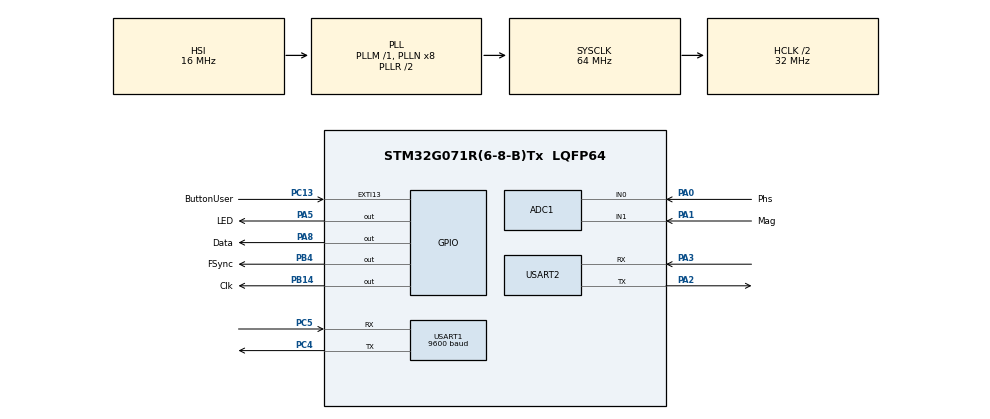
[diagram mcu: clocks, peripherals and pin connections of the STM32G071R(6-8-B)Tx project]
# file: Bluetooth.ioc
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ADC1.Channel-0\#ChannelRegularConversion=ADC_CHANNEL_0
ADC1.Channel-1\#ChannelRegularConversion=ADC_CHANNEL_1
ADC1.DMAContinuousRequests=ENABLE
ADC1.EOCSelection=ADC_EOC_SEQ_CONV
ADC1.NbrOfConversion=2
ADC1.NbrOfConversionFlag=1
ADC1.Rank-0\#ChannelRegularConversion=1
ADC1.Rank-1\#ChannelRegularConversion=2
ADC1.SamplingTime-0\#ChannelRegularConversion=ADC_SAMPLINGTIME_COMMON_1
ADC1.SamplingTime-1\#ChannelRegularConversion=ADC_SAMPLINGTIME_COMMON_1
ADC1.SamplingTimeCommon1=ADC_SAMPLETIME_160CYCLES_5
ADC1.master=1
Dma.ADC1.4.Direction=DMA_PERIPH_TO_MEMORY
Dma.ADC1.4.EventEnable=DISABLE
Dma.ADC1.4.Instance=DMA1_Channel5
Dma.ADC1.4.MemDataAlignment=DMA_MDATAALIGN_WORD
Dma.ADC1.4.MemInc=DMA_MINC_ENABLE
Dma.ADC1.4.Mode=DMA_CIRCULAR
Dma.ADC1.4.PeriphDataAlignment=DMA_PDATAALIGN_WORD
Dma.ADC1.4.PeriphInc=DMA_PINC_DISABLE
Dma.ADC1.4.Polarity=HAL_DMAMUX_REQ_GEN_RISING
Dma.ADC1.4.Priority=DMA_PRIORITY_HIGH
Dma.ADC1.4.RequestNumber=1
Dma.ADC1.4.SignalID=NONE
Dma.ADC1.4.SyncEnable=DISABLE
Dma.ADC1.4.SyncPolarity=HAL_DMAMUX_SYNC_NO_EVENT
Dma.ADC1.4.SyncRequestNumber=1
Dma.ADC1.4.SyncSignalID=NONE
Dma.Request0=USART1_RX
Dma.Request1=USART1_TX
Dma.Request2=USART2_RX
Dma.Request3=USART2_TX
Dma.Request4=ADC1
Dma.USART1_RX.0.Direction=DMA_PERIPH_TO_MEMORY
Dma.USART1_RX.0.EventEnable=DISABLE
Dma.USART1_RX.0.Instance=DMA1_Channel1
Dma.USART1_RX.0.MemDataAlignment=DMA_MDATAALIGN_BYTE
Dma.USART1_RX.0.MemInc=DMA_MINC_ENABLE
Dma.USART1_RX.0.Mode=DMA_CIRCULAR
Dma.USART1_RX.0.PeriphDataAlignment=DMA_PDATAALIGN_BYTE
Dma.USART1_RX.0.PeriphInc=DMA_PINC_DISABLE
Dma.USART1_RX.0.Polarity=HAL_DMAMUX_REQ_GEN_RISING
Dma.USART1_RX.0.Priority=DMA_PRIORITY_LOW
Dma.USART1_RX.0.RequestNumber=1
Dma.USART1_RX.0.SignalID=NONE
Dma.USART1_RX.0.SyncEnable=DISABLE
Dma.USART1_RX.0.SyncPolarity=HAL_DMAMUX_SYNC_NO_EVENT
Dma.USART1_RX.0.SyncRequestNumber=1
Dma.USART1_RX.0.SyncSignalID=NONE
Dma.USART1_TX.1.Direction=DMA_MEMORY_TO_PERIPH
Dma.USART1_TX.1.EventEnable=DISABLE
Dma.USART1_TX.1.Instance=DMA1_Channel2
Dma.USART1_TX.1.MemDataAlignment=DMA_MDATAALIGN_BYTE
Dma.USART1_TX.1.MemInc=DMA_MINC_ENABLE
Dma.USART1_TX.1.Mode=DMA_NORMAL
Dma.USART1_TX.1.PeriphDataAlignment=DMA_PDATAALIGN_BYTE
Dma.USART1_TX.1.PeriphInc=DMA_PINC_DISABLE
Dma.USART1_TX.1.Polarity=HAL_DMAMUX_REQ_GEN_RISING
Dma.USART1_TX.1.Priority=DMA_PRIORITY_LOW
Dma.USART1_TX.1.RequestNumber=1
Dma.USART1_TX.1.SignalID=NONE
Dma.USART1_TX.1.SyncEnable=DISABLE
Dma.USART1_TX.1.SyncPolarity=HAL_DMAMUX_SYNC_NO_EVENT
Dma.USART1_TX.1.SyncRequestNumber=1
Dma.USART1_TX.1.SyncSignalID=NONE
Dma.USART2_RX.2.Direction=DMA_PERIPH_TO_MEMORY
Dma.USART2_RX.2.EventEnable=DISABLE
Dma.USART2_RX.2.Instance=DMA1_Channel3
Dma.USART2_RX.2.MemDataAlignment=DMA_MDATAALIGN_BYTE
Dma.USART2_RX.2.MemInc=DMA_MINC_ENABLE
Dma.USART2_RX.2.Mode=DMA_CIRCULAR
Dma.USART2_RX.2.PeriphDataAlignment=DMA_PDATAALIGN_BYTE
Dma.USART2_RX.2.PeriphInc=DMA_PINC_DISABLE
Dma.USART2_RX.2.Polarity=HAL_DMAMUX_REQ_GEN_RISING
Dma.USART2_RX.2.Priority=DMA_PRIORITY_LOW
Dma.USART2_RX.2.RequestNumber=1
Dma.USART2_RX.2.SignalID=NONE
Dma.USART2_RX.2.SyncEnable=DISABLE
Dma.USART2_RX.2.SyncPolarity=HAL_DMAMUX_SYNC_NO_EVENT
Dma.USART2_RX.2.SyncRequestNumber=1
Dma.USART2_RX.2.SyncSignalID=NONE
Dma.USART2_TX.3.Direction=DMA_MEMORY_TO_PERIPH
Dma.USART2_TX.3.EventEnable=DISABLE
Dma.USART2_TX.3.Instance=DMA1_Channel4
Dma.USART2_TX.3.MemDataAlignment=DMA_MDATAALIGN_BYTE
Dma.USART2_TX.3.MemInc=DMA_MINC_ENABLE
Dma.USART2_TX.3.Mode=DMA_NORMAL
Dma.USART2_TX.3.PeriphDataAlignment=DMA_PDATAALIGN_BYTE
Dma.USART2_TX.3.PeriphInc=DMA_PINC_DISABLE
Dma.USART2_TX.3.Polarity=HAL_DMAMUX_REQ_GEN_RISING
Dma.USART2_TX.3.Priority=DMA_PRIORITY_LOW
Dma.USART2_TX.3.RequestNumber=1
Dma.USART2_TX.3.SignalID=NONE
Dma.USART2_TX.3.SyncEnable=DISABLE
Dma.USART2_TX.3.SyncPolarity=HAL_DMAMUX_SYNC_NO_EVENT
Dma.USART2_TX.3.SyncRequestNumber=1
Dma.USART2_TX.3.SyncSignalID=NONE
Mcu.Family=STM32G0
Mcu.Name=STM32G071R(6-8-B)Tx
Mcu.Package=LQFP64
NVIC.ADC1_COMP_IRQn=true\:0\:0\:false\:false\:true\:true\:true
NVIC.DMA1_Ch4_7_DMAMUX1_OVR_IRQn=true\:0\:0\:false\:false\:true\:false\:true
NVIC.DMA1_Channel1_IRQn=true\:0\:0\:false\:false\:true\:false\:true
NVIC.DMA1_Channel2_3_IRQn=true\:0\:0\:false\:false\:true\:false\:true
NVIC.EXTI4_15_IRQn=true\:0\:0\:false\:false\:true\:true\:true
NVIC.USART1_IRQn=true\:0\:0\:false\:false\:true\:true\:true
NVIC.USART2_IRQn=true\:0\:0\:false\:false\:true\:true\:true
PA0.GPIO_Label=Phs
PA0.Mode=IN0
PA0.Signal=ADC1_IN0
PA1.GPIO_Label=Mag
PA1.Mode=IN1
PA1.Signal=ADC1_IN1
PA2.Mode=Asynchronous
PA2.Signal=USART2_TX
PA3.Mode=Asynchronous
PA3.Signal=USART2_RX
PA5.GPIO_Label=LED
PA5.Signal=GPIO_Output
PA8.GPIO_Label=Data
PA8.Signal=GPIO_Output
PB14.GPIO_Label=Clk
PB14.Signal=GPIO_Output
PB4.GPIO_Label=FSync
PB4.PinState=GPIO_PIN_SET
PB4.Signal=GPIO_Output
PC13.GPIO_Label=ButtonUser
PC13.GPIO_ModeDefaultEXTI=GPIO_MODE_IT_FALLING
PC13.Signal=GPXTI13
PC4.Mode=Asynchronous
PC4.Signal=USART1_TX
PC5.Mode=Asynchronous
PC5.Signal=USART1_RX
ProjectManager.HeapSize=0x200
ProjectManager.StackSize=0x400
ProjectManager.TargetToolchain=STM32CubeIDE
RCC.ADCFreq_Value=64000000
RCC.AHBCLKDivider=RCC_SYSCLK_DIV2
RCC.AHBFreq_Value=32000000
RCC.CortexFreq_Value=32000000
RCC.EXTERNAL_CLOCK_VALUE=12288000
RCC.HCLKFreq_Value=32000000
RCC.HSE_VALUE=8000000
RCC.HSI_VALUE=16000000
RCC.LSE_VALUE=32768
RCC.SYSCLKFreq_VALUE=64000000
RCC.SYSCLKSource=RCC_SYSCLKSOURCE_PLLCLK
RCC.VCOOutputFreq_Value=128000000
USART1.BaudRate=9600
USART1.VirtualMode-Asynchronous=VM_ASYNC
USART2.VirtualMode-Asynchronous=VM_ASYNC
VP_SYS_VS_DBSignals.Mode=DisableDeadBatterySignals
board=NUCLEO-G071RB

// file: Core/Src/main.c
/* USER CODE BEGIN Header */
/**
  ******************************************************************************
  * @file           : main.c
  * @brief          : Main program body
  ******************************************************************************
  * @attention
  *
  * <h2><center>&copy; Copyright (c) 2019 STMicroelectronics.
  * All rights reserved.</center></h2>
  *
  * This software component is licensed by ST under BSD 3-Clause license,
  * the "License"; You may not use this file except in compliance with the
  * License. You may obtain a copy of the License at:
  *                        opensource.org/licenses/BSD-3-Clause
  *
  ******************************************************************************
  */
/* USER CODE END Header */

#include "main.h"

/* USER CODE BEGIN Includes */
#include "stdio.h"
#include "math.h"
/* USER CODE END Includes */

ADC_HandleTypeDef hadc1;
DMA_HandleTypeDef hdma_adc1;

UART_HandleTypeDef huart1;
UART_HandleTypeDef huart2;
DMA_HandleTypeDef hdma_usart1_rx;
DMA_HandleTypeDef hdma_usart1_tx;
DMA_HandleTypeDef hdma_usart2_rx;
DMA_HandleTypeDef hdma_usart2_tx;

void SystemClock_Config(void);
static void MX_GPIO_Init(void);
static void MX_DMA_Init(void);
static void MX_USART1_UART_Init(void);
static void MX_USART2_UART_Init(void);
static void MX_ADC1_Init(void);
/* USER CODE BEGIN PFP */
void tachChuoi(void);
void SG_WriteRegister(uint16_t dat);
void SG_Reset();
void SG_freqSet(long frequency, int wave);
void InitSigGen(void);
void SerialCommand(void);
void SG_freqReset(long frequency, int wave);
void readADC(void);
void convertADC(void);
void display(void);
void calculation(void);
void resetValue(void);
/* USER CODE END PFP */

/* USER CODE BEGIN 0 */
uint8_t rxBufferUart1[4];       // thanh ghi cho UART1
uint8_t rxBufferUart2[7];		// thanh ghi cho UART2
uint8_t ChieuCao;
uint8_t CanNang;
uint8_t GioiTinh;
uint8_t Tuoi;

uint8_t flag =0;		// co flag

uint32_t value[2];
uint32_t sumofMAG = 0;
uint32_t sumofPHS = 0;

uint32_t sumofMAG1 = 0;
uint32_t sumofPHS1 = 0;

uint16_t voltMAG = 0;
uint16_t voltPHS = 0;

uint16_t MAG = 0;
int16_t PHS = 0;

uint32_t R50 = 0;
uint32_t Xc = 0;

uint32_t xFFM = 0;
uint32_t xFM = 0;
uint32_t xTBW = 0;
uint32_t xECW = 0;
uint32_t xICW = 0;
uint32_t xBCM = 0;

const uint8_t numberOfDigits = 6;		//Thanh ghi gia tri AD9833 tu 1 - 999,999 Hz.
uint8_t freqSG[6] = {0,0,0,0,5,0};		// gia tri 50 Khz

// Khai bao dang song
const uint16_t wSine     = 0b0000000000000000;
const uint16_t wTriangle = 0b0000000000000010;
const uint16_t wSquare   = 0b0000000000101000;

uint16_t waveType;

// ham 10^y
uint32_t Power(uint16_t y) {
	uint32_t t = 1;
  for (uint8_t i = 0; i < y; i++)
    t = t * 10;
  return t;
}
// tinh toan tan so cho mang
uint32_t calcFreq(uint8_t* freqSG) {
	uint32_t i = 0;
  for (uint8_t x = 0; x < numberOfDigits; x++)
    i = i + freqSG[x] * Power(x);
  return i;
}

//-----------------------------------------------------------------------------
// SG_WriteRegister
//-----------------------------------------------------------------------------
void SG_WriteRegister(uint16_t dat) {
	HAL_GPIO_WritePin(GPIOB, Clk_Pin, GPIO_PIN_RESET);
	HAL_GPIO_WritePin(GPIOB, Clk_Pin, GPIO_PIN_SET);

	HAL_GPIO_WritePin(GPIOB, FSync_Pin, GPIO_PIN_RESET);

  for (uint8_t i = 0; i < 16; i++) {
    if (dat & 0x8000)
    	HAL_GPIO_WritePin(Data_GPIO_Port, Data_Pin, GPIO_PIN_SET);
    else
    	HAL_GPIO_WritePin(Data_GPIO_Port, Data_Pin, GPIO_PIN_RESET);
    dat = dat << 1;
    HAL_GPIO_WritePin(GPIOB, Clk_Pin, GPIO_PIN_SET);
    HAL_GPIO_WritePin(GPIOB, Clk_Pin, GPIO_PIN_RESET);
  }
  HAL_GPIO_WritePin(GPIOB, Clk_Pin, GPIO_PIN_SET);
  HAL_GPIO_WritePin(GPIOB, FSync_Pin, GPIO_PIN_SET);
}
//-----------------------------------------------------------------------------
// SG_Reset
//-----------------------------------------------------------------------------
void SG_Reset() {
  HAL_Delay(100);
  SG_WriteRegister(0x100);
  HAL_Delay(100);
}
//-----------------------------------------------------------------------------
// SG_freqSet
//    set the SG frequency regs
//-----------------------------------------------------------------------------
void SG_freqSet(long frequency, int wave) {
  long fl = frequency * (0x10000000 / 25000000.0);
  SG_WriteRegister(0x2000 | wave);
  SG_WriteRegister((int)(fl & 0x3FFF) | 0x4000);
  SG_WriteRegister((int)((fl & 0xFFFC000) >> 14) | 0x4000);
}
//-----------------------------------------------------------------------------
// InitSigGen
//-----------------------------------------------------------------------------
void InitSigGen(void) {
  HAL_GPIO_WritePin(GPIOB, FSync_Pin, GPIO_PIN_SET);
  HAL_GPIO_WritePin(GPIOB, Clk_Pin, GPIO_PIN_SET);
  SG_Reset();
  waveType = wSine;
  SG_freqReset(calcFreq(freqSG), waveType);
}
//-----------------------------------------------------------------------------
// SerialCommand
//   if a byte is available in teh seril input buffer
//   execute it as a command
//-----------------------------------------------------------------------------

void SerialCommand(void) {
	for(int i=0; i < 7; i++)
	{
		if ((rxBufferUart2[i] >= '0') && (rxBufferUart2[i] <= '9')){
			for (int j=5; j>0; j--) freqSG[j] = freqSG[j-1];
			      freqSG[0] = rxBufferUart2[i] - '0';
		}else {
		      switch (rxBufferUart2[i]) {
		        case 'S': waveType = wSine; SG_freqReset(calcFreq(freqSG), waveType); break;   // SigGen wave is sine
		        case 'T': waveType = wTriangle; SG_freqReset(calcFreq(freqSG), waveType); break;   // SigGen wave is triangle
		        case 'Q': waveType = wSquare; SG_freqReset(calcFreq(freqSG), waveType); break;   // SigGen wave is square
		        case 'R': SG_Reset();  break;   // SigGen reset
		        default: return;
		      }
		}
	}
}
//-----------------------------------------------------------------------------
// SG_freqReset
//    reset the SG regs then set the frequency and wave type
//-----------------------------------------------------------------------------
void SG_freqReset(long frequency, int wave) {
  long fl = frequency * (0x10000000 / 25000000.0);
  SG_WriteRegister(0x2100);
  SG_WriteRegister((int)(fl & 0x3FFF) | 0x4000);
  SG_WriteRegister((int)((fl & 0xFFFC000) >> 14) | 0x4000);
  SG_WriteRegister(0xC000);
  SG_WriteRegister(wave);
  waveType = wave;
}

/* USER CODE END 0 */

int main(void)
{

  /* MCU Configuration--------------------------------------------------------*/

  /* Reset of all peripherals, Initializes the Flash interface and the Systick. */
  HAL_Init();

  /* Configure the system clock */
  SystemClock_Config();

  /* Initialize all configured peripherals */
  MX_GPIO_Init();
  MX_DMA_Init();
  MX_USART1_UART_Init();
  MX_USART2_UART_Init();
  MX_ADC1_Init();
  /* USER CODE BEGIN 2 */
  InitSigGen();

  HAL_UART_Receive_DMA(&huart1, rxBufferUart1, 4);
  HAL_UART_Receive_DMA(&huart2, rxBufferUart2, 7);

  /* USER CODE END 2 */

  /* Infinite loop */
  while (1)
  {
	  if ( flag == 1)
	  {
		  readADC();
		  convertADC();
		  calculation();
		  display();
		  resetValue();
		  flag = 0;
	  }
	  SerialCommand();
  }
}

void SystemClock_Config(void)
{
  RCC_OscInitTypeDef RCC_OscInitStruct = {0};
  RCC_ClkInitTypeDef RCC_ClkInitStruct = {0};
  RCC_PeriphCLKInitTypeDef PeriphClkInit = {0};

  /** Configure the main internal regulator output voltage
  */
  HAL_PWREx_ControlVoltageScaling(PWR_REGULATOR_VOLTAGE_SCALE1);
  /** Initializes the CPU, AHB and APB busses clocks
  */
  RCC_OscInitStruct.OscillatorType = RCC_OSCILLATORTYPE_HSI;
  RCC_OscInitStruct.HSIState = RCC_HSI_ON;
  RCC_OscInitStruct.HSIDiv = RCC_HSI_DIV1;
  RCC_OscInitStruct.HSICalibrationValue = RCC_HSICALIBRATION_DEFAULT;
  RCC_OscInitStruct.PLL.PLLState = RCC_PLL_ON;
  RCC_OscInitStruct.PLL.PLLSource = RCC_PLLSOURCE_HSI;
  RCC_OscInitStruct.PLL.PLLM = RCC_PLLM_DIV1;
  RCC_OscInitStruct.PLL.PLLN = 8;
  RCC_OscInitStruct.PLL.PLLP = RCC_PLLP_DIV2;
  RCC_OscInitStruct.PLL.PLLQ = RCC_PLLQ_DIV2;
  RCC_OscInitStruct.PLL.PLLR = RCC_PLLR_DIV2;
  if (HAL_RCC_OscConfig(&RCC_OscInitStruct) != HAL_OK)
  {
    Error_Handler();
  }
  /** Initializes the CPU, AHB and APB busses clocks
  */
  RCC_ClkInitStruct.ClockType = RCC_CLOCKTYPE_HCLK|RCC_CLOCKTYPE_SYSCLK
                              |RCC_CLOCKTYPE_PCLK1;
  RCC_ClkInitStruct.SYSCLKSource = RCC_SYSCLKSOURCE_PLLCLK;
  RCC_ClkInitStruct.AHBCLKDivider = RCC_SYSCLK_DIV2;
  RCC_ClkInitStruct.APB1CLKDivider = RCC_HCLK_DIV1;

  if (HAL_RCC_ClockConfig(&RCC_ClkInitStruct, FLASH_LATENCY_1) != HAL_OK)
  {
    Error_Handler();
  }
  /** Initializes the peripherals clocks
  */
  PeriphClkInit.PeriphClockSelection = RCC_PERIPHCLK_USART1|RCC_PERIPHCLK_USART2
                              |RCC_PERIPHCLK_ADC;
  PeriphClkInit.Usart1ClockSelection = RCC_USART1CLKSOURCE_PCLK1;
  PeriphClkInit.Usart2ClockSelection = RCC_USART2CLKSOURCE_PCLK1;
  PeriphClkInit.AdcClockSelection = RCC_ADCCLKSOURCE_SYSCLK;
  if (HAL_RCCEx_PeriphCLKConfig(&PeriphClkInit) != HAL_OK)
  {
    Error_Handler();
  }
}

static void MX_ADC1_Init(void)
{

  ADC_ChannelConfTypeDef sConfig = {0};

  /** Configure the global features of the ADC (Clock, Resolution, Data Alignment and number of conversion)
  */
  hadc1.Instance = ADC1;
  hadc1.Init.ClockPrescaler = ADC_CLOCK_SYNC_PCLK_DIV2;
  hadc1.Init.Resolution = ADC_RESOLUTION_12B;
  hadc1.Init.DataAlign = ADC_DATAALIGN_RIGHT;
  hadc1.Init.ScanConvMode = ADC_SCAN_ENABLE;
  hadc1.Init.EOCSelection = ADC_EOC_SEQ_CONV;
  hadc1.Init.LowPowerAutoWait = DISABLE;
  hadc1.Init.LowPowerAutoPowerOff = DISABLE;
  hadc1.Init.ContinuousConvMode = DISABLE;
  hadc1.Init.NbrOfConversion = 2;
  hadc1.Init.DiscontinuousConvMode = DISABLE;
  hadc1.Init.ExternalTrigConv = ADC_SOFTWARE_START;
  hadc1.Init.ExternalTrigConvEdge = ADC_EXTERNALTRIGCONVEDGE_NONE;
  hadc1.Init.DMAContinuousRequests = ENABLE;
  hadc1.Init.Overrun = ADC_OVR_DATA_PRESERVED;
  hadc1.Init.SamplingTimeCommon1 = ADC_SAMPLETIME_160CYCLES_5;
  hadc1.Init.SamplingTimeCommon2 = ADC_SAMPLETIME_1CYCLE_5;
  hadc1.Init.OversamplingMode = DISABLE;
  hadc1.Init.TriggerFrequencyMode = ADC_TRIGGER_FREQ_HIGH;
  if (HAL_ADC_Init(&hadc1) != HAL_OK)
  {
    Error_Handler();
  }
  /** Configure Regular Channel
  */
  sConfig.Channel = ADC_CHANNEL_0;
  sConfig.Rank = ADC_REGULAR_RANK_1;
  sConfig.SamplingTime = ADC_SAMPLINGTIME_COMMON_1;
  if (HAL_ADC_ConfigChannel(&hadc1, &sConfig) != HAL_OK)
  {
    Error_Handler();
  }
  /** Configure Regular Channel
  */
  sConfig.Channel = ADC_CHANNEL_1;
  sConfig.Rank = ADC_REGULAR_RANK_2;
  if (HAL_ADC_ConfigChannel(&hadc1, &sConfig) != HAL_OK)
  {
    Error_Handler();
  }

}

static void MX_USART1_UART_Init(void)
{

  huart1.Instance = USART1;
  huart1.Init.BaudRate = 9600;
  huart1.Init.WordLength = UART_WORDLENGTH_8B;
  huart1.Init.StopBits = UART_STOPBITS_1;
  huart1.Init.Parity = UART_PARITY_NONE;
  huart1.Init.Mode = UART_MODE_TX_RX;
  huart1.Init.HwFlowCtl = UART_HWCONTROL_NONE;
  huart1.Init.OverSampling = UART_OVERSAMPLING_16;
  huart1.Init.OneBitSampling = UART_ONE_BIT_SAMPLE_DISABLE;
  huart1.Init.ClockPrescaler = UART_PRESCALER_DIV1;
  huart1.AdvancedInit.AdvFeatureInit = UART_ADVFEATURE_NO_INIT;
  if (HAL_UART_Init(&huart1) != HAL_OK)
  {
    Error_Handler();
  }
  if (HAL_UARTEx_SetTxFifoThreshold(&huart1, UART_TXFIFO_THRESHOLD_1_8) != HAL_OK)
  {
    Error_Handler();
  }
  if (HAL_UARTEx_SetRxFifoThreshold(&huart1, UART_RXFIFO_THRESHOLD_1_8) != HAL_OK)
  {
    Error_Handler();
  }
  if (HAL_UARTEx_DisableFifoMode(&huart1) != HAL_OK)
  {
    Error_Handler();
  }

}

static void MX_USART2_UART_Init(void)
{

  huart2.Instance = USART2;
  huart2.Init.BaudRate = 115200;
  huart2.Init.WordLength = UART_WORDLENGTH_8B;
  huart2.Init.StopBits = UART_STOPBITS_1;
  huart2.Init.Parity = UART_PARITY_NONE;
  huart2.Init.Mode = UART_MODE_TX_RX;
  huart2.Init.HwFlowCtl = UART_HWCONTROL_NONE;
  huart2.Init.OverSampling = UART_OVERSAMPLING_16;
  huart2.Init.OneBitSampling = UART_ONE_BIT_SAMPLE_DISABLE;
  huart2.Init.ClockPrescaler = UART_PRESCALER_DIV1;
  huart2.AdvancedInit.AdvFeatureInit = UART_ADVFEATURE_NO_INIT;
  if (HAL_UART_Init(&huart2) != HAL_OK)
  {
    Error_Handler();
  }
  if (HAL_UARTEx_SetTxFifoThreshold(&huart2, UART_TXFIFO_THRESHOLD_1_8) != HAL_OK)
  {
    Error_Handler();
  }
  if (HAL_UARTEx_SetRxFifoThreshold(&huart2, UART_RXFIFO_THRESHOLD_1_8) != HAL_OK)
  {
    Error_Handler();
  }
  if (HAL_UARTEx_DisableFifoMode(&huart2) != HAL_OK)
  {
    Error_Handler();
  }

}

static void MX_DMA_Init(void)
{

  /* DMA controller clock enable */
  __HAL_RCC_DMA1_CLK_ENABLE();

  /* DMA interrupt init */
  /* DMA1_Channel1_IRQn interrupt configuration */
  HAL_NVIC_SetPriority(DMA1_Channel1_IRQn, 0, 0);
  HAL_NVIC_EnableIRQ(DMA1_Channel1_IRQn);
  /* DMA1_Channel2_3_IRQn interrupt configuration */
  HAL_NVIC_SetPriority(DMA1_Channel2_3_IRQn, 0, 0);
  HAL_NVIC_EnableIRQ(DMA1_Channel2_3_IRQn);
  /* DMA1_Ch4_7_DMAMUX1_OVR_IRQn interrupt configuration */
  HAL_NVIC_SetPriority(DMA1_Ch4_7_DMAMUX1_OVR_IRQn, 0, 0);
  HAL_NVIC_EnableIRQ(DMA1_Ch4_7_DMAMUX1_OVR_IRQn);

}

static void MX_GPIO_Init(void)
{
  GPIO_InitTypeDef GPIO_InitStruct = {0};

  /* GPIO Ports Clock Enable */
  __HAL_RCC_GPIOC_CLK_ENABLE();
  __HAL_RCC_GPIOA_CLK_ENABLE();
  __HAL_RCC_GPIOB_CLK_ENABLE();

  /*Configure GPIO pin Output Level */
  HAL_GPIO_WritePin(GPIOA, LED_Pin|Data_Pin, GPIO_PIN_RESET);

  /*Configure GPIO pin Output Level */
  HAL_GPIO_WritePin(Clk_GPIO_Port, Clk_Pin, GPIO_PIN_RESET);

  /*Configure GPIO pin Output Level */
  HAL_GPIO_WritePin(FSync_GPIO_Port, FSync_Pin, GPIO_PIN_SET);

  /*Configure GPIO pin : ButtonUser_Pin */
  GPIO_InitStruct.Pin = ButtonUser_Pin;
  GPIO_InitStruct.Mode = GPIO_MODE_IT_FALLING;
  GPIO_InitStruct.Pull = GPIO_NOPULL;
  HAL_GPIO_Init(ButtonUser_GPIO_Port, &GPIO_InitStruct);

  /*Configure GPIO pins : LED_Pin Data_Pin */
  GPIO_InitStruct.Pin = LED_Pin|Data_Pin;
  GPIO_InitStruct.Mode = GPIO_MODE_OUTPUT_PP;
  GPIO_InitStruct.Pull = GPIO_NOPULL;
  GPIO_InitStruct.Speed = GPIO_SPEED_FREQ_LOW;
  HAL_GPIO_Init(GPIOA, &GPIO_InitStruct);

  /*Configure GPIO pins : Clk_Pin FSync_Pin */
  GPIO_InitStruct.Pin = Clk_Pin|FSync_Pin;
  GPIO_InitStruct.Mode = GPIO_MODE_OUTPUT_PP;
  GPIO_InitStruct.Pull = GPIO_NOPULL;
  GPIO_InitStruct.Speed = GPIO_SPEED_FREQ_LOW;
  HAL_GPIO_Init(GPIOB, &GPIO_InitStruct);

  /* EXTI interrupt init*/
  HAL_NVIC_SetPriority(EXTI4_15_IRQn, 0, 0);
  HAL_NVIC_EnableIRQ(EXTI4_15_IRQn);

}

/* USER CODE BEGIN 4 */
void HAL_UART_RxCpltCallback(UART_HandleTypeDef *huart)
{
	if (huart->Instance == USART1)
	{
		HAL_UART_Transmit_DMA(&huart2, rxBufferUart1, 4);
		tachChuoi();
		flag = 1;
	}
	if (huart->Instance == USART2)
	{
		//HAL_UART_Transmit_DMA(&huart1, rxBufferUart2, 7);
		uint8_t notice[5] = "OK!\r\n";
		HAL_UART_Transmit(&huart2, notice, 5, 1);
	}
}
 void tachChuoi(void)
 {
	 ChieuCao = rxBufferUart1[0];
	 CanNang = rxBufferUart1[1];
	 GioiTinh = rxBufferUart1[2];
	 Tuoi = rxBufferUart1[3];
 }

// ngat button
void HAL_GPIO_EXTI_Falling_Callback(uint16_t GPIO_Pin)
{
	if (HAL_GPIO_ReadPin(ButtonUser_GPIO_Port, ButtonUser_Pin) == GPIO_PIN_RESET)
	{
		uint8_t number1 = 49;
		uint8_t number2 = 50;
		uint8_t number3 = 51;
		uint8_t number4 = 52;
		uint8_t number5 = 53;
		uint8_t number6 = 54;

		uint32_t a1 = 12;
		uint32_t a2 = 13;
		uint32_t a3 = 14;
		uint32_t a4 = 15;
		uint32_t a5 = 15;
		uint32_t a6 = 16;

		//uint8_t number[6] = 7;

		HAL_UART_Transmit(&huart1, &number1, 1, 1000);
		HAL_UART_Transmit(&huart1, (uint8_t *) &a1, 4, 1000);

		HAL_UART_Transmit(&huart1, &number2, 1, 1000);
		HAL_UART_Transmit(&huart1, (uint8_t *) &a2, 4, 1000);

		HAL_UART_Transmit(&huart1, &number3, 1, 1000);
		HAL_UART_Transmit(&huart1, (uint8_t *) &a3, 4, 1000);

		HAL_UART_Transmit(&huart1, &number4, 1, 1000);
		HAL_UART_Transmit(&huart1, (uint8_t *) &a4, 4, 1000);

		HAL_UART_Transmit(&huart1, &number5, 1, 1000);
		HAL_UART_Transmit(&huart1, (uint8_t *) &a5, 4, 1000);

		HAL_UART_Transmit(&huart1, &number6, 1, 1000);
		HAL_UART_Transmit(&huart1, (uint8_t *) &a6, 4, 1000);
	}
}
//
void resetValue(void)
{
	sumofMAG = 0;
	sumofPHS = 0;
}
// Ham Fat Free Mass
float FFMfFunction(uint16_t height,uint16_t weight,uint16_t R50,uint16_t Xc,uint8_t sex)  // 1 la nam, 0 la nu
{
	float FFM = 0;
	FFM = -4.104 + 0.518*height*height/R50 + 0.231*weight + 0.130*Xc + 4.229*sex;
	return FFM;
}
// Ham Fat Mass
float FM(uint16_t weight,uint32_t FFM)
{
	float FM = 0;
	FM = weight - FFM;
	return FM;
}
// Ham Total Body Water
float TBW(uint16_t height, uint16_t weight, uint16_t R50, uint8_t sex) // 1 la nam, 0 la nu
{
	float TBW = 0;
	if (sex == 1)
	{
		TBW = 8.399 + 0.396*height*height/R50 + 0.143*weight;
		return TBW;
	}
	else
	{
		TBW = 8.315 + 0.382*height*height/R50 + 0.105*weight;
		return TBW;
	}
}
//Ham Extra Cellular Water
float ECW(uint16_t height,uint16_t weight,uint16_t R50,uint16_t Xc,uint8_t healthy,uint8_t sex)    // 0 la nam, 1 la nu; 1 la khoe, 2 la om
{
	float ECW = 0;
	ECW = -5.22 + 0.20*height*height/R50 + 0.005*height*height/Xc + 0.08*weight + 1.9*healthy + 1.86*sex;
	return ECW;
}
float ICW(uint32_t TBW,uint32_t ECW)
{
	float ICW = 0;
	ICW = TBW - ECW;
	return ICW;
}
// Ham Body Cell Mass
float BCM(uint16_t height,uint16_t weight,uint16_t Xc,uint8_t sex)
{
	float BCM = 0;
	if (sex == 1)
	{
		BCM = 1/120*((0.76*(59.06*powf(height, 1.6)/powf(Xc,0.5)) + 18.52*weight - 386.66));
		return BCM;
	}
	else
	{
		BCM = 1/120*((0.96*(1.306*powf(height, 2.07)/powf(Xc,0.36)) + 5.79*weight - 230.51));
		return BCM;
	}
}
//
void HAL_ADC_ConvCpltCallback(ADC_HandleTypeDef* hadc)
{
	__NOP();
}
//
void readADC(void)
{
	HAL_ADCEx_Calibration_Start(&hadc1);
	HAL_ADC_Start_DMA(&hadc1, value, 2);
	for (uint8_t i = 0; i < 30; i++)
	{
		HAL_Delay(100);
		sumofMAG = sumofMAG + value[1];
		sumofPHS = sumofPHS + value[0];
		HAL_ADC_Start(&hadc1);
	}
	HAL_ADC_Stop_DMA(&hadc1);
	sumofMAG1 = sumofMAG/30;
	sumofPHS1 = sumofPHS/30;
}
//

//
void convertADC(void)
{
	voltMAG = sumofMAG1*3300/4095;
	voltPHS = sumofPHS1*3300/4095;
	voltPHS = voltPHS - 50;

	MAG = 510*powf(10.0, ((float)(voltMAG-900))/600);
	PHS = -((900 - voltPHS)/10+90);

	R50 =  MAG* cosf(PHS*M_PI/180);
	Xc =   MAG* sinf(abs(PHS)*M_PI/180);
}
//
void calculation(void)
{
	xFFM = FFMfFunction(ChieuCao, CanNang, R50, Xc, GioiTinh);
	xFM = FM(CanNang, xFFM);
	xTBW = TBW(ChieuCao, CanNang, R50, GioiTinh);
	if (GioiTinh == 1)
	{
		xECW = ECW(ChieuCao, CanNang, R50, Xc, 1, 0);
	}
	else
	{
		xECW = ECW(ChieuCao, CanNang, R50, Xc, 1, 1);
	}
	xICW = ICW(xTBW, xECW);
	xBCM = BCM(ChieuCao, CanNang, Xc, GioiTinh);
}
//
void display(void)
{
	uint8_t number1 = 49;
	uint8_t number2 = 50;
	uint8_t number3 = 51;
	uint8_t number4 = 52;
	uint8_t number5 = 53;
	uint8_t number6 = 54;
	uint8_t number7 = 55;
	uint8_t number8 = 56;

	HAL_UART_Transmit(&huart1, &number1, 1, 1);
	HAL_UART_Transmit(&huart1, (uint8_t *) &xFFM, 4, 10);

	HAL_UART_Transmit(&huart1, &number2, 1, 1);
	HAL_UART_Transmit(&huart1, (uint8_t *) &xFM, 4, 10);

	HAL_UART_Transmit(&huart1, &number3, 1, 1);
	HAL_UART_Transmit(&huart1, (uint8_t *) &xTBW, 4, 10);

	HAL_UART_Transmit(&huart1, &number4, 1, 1);
	HAL_UART_Transmit(&huart1, (uint8_t *) &xECW, 4, 10);

	HAL_UART_Transmit(&huart1, &number5, 1, 1);
	HAL_UART_Transmit(&huart1, (uint8_t *) &xICW, 4, 10);

	HAL_UART_Transmit(&huart1, &number6, 1, 1);
	HAL_UART_Transmit(&huart1, (uint8_t *) &xBCM, 4, 10);

	HAL_UART_Transmit(&huart1, &number7, 1, 1);
	HAL_UART_Transmit(&huart1, (uint8_t *) &R50, 4, 10);

	HAL_UART_Transmit(&huart1, &number8, 1, 1);
	HAL_UART_Transmit(&huart1, (uint8_t *) &Xc, 4, 10);
}
/* USER CODE END 4 */

void Error_Handler(void)
{
}

/************************ (C) COPYRIGHT STMicroelectronics *****END OF FILE****/
